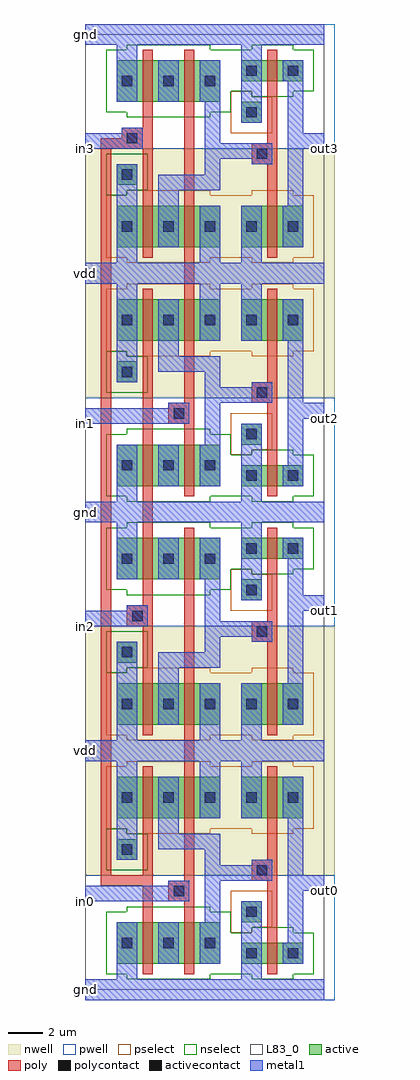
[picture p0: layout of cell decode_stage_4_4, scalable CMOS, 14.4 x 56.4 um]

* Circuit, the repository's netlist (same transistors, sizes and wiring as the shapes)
.SUBCKT decode_stage_4_4 in0 in1 in2 in3 out0 out1 out2 out3 vdd gnd
M00 gnd in3 net01 gnd n w=2.4u l =0.6u
M01 net01 in0 z0 gnd n w=2.4u l =0.6u
M02 gnd z0 out0 gnd n w=1.2u l =0.6u
M03 vdd in3 z0 vdd p w=2.4u l =0.6u
M04 z0 in0 vdd vdd p w=2.4u l =0.6u
M05 vdd z0 out0 vdd p w=2.4u l =0.6u
M10 gnd in2 net11 gnd n w=2.4u l =0.6u
M11 net11 in0 z1 gnd n w=2.4u l =0.6u
M12 gnd z1 out1 gnd n w=1.2u l =0.6u
M13 vdd in2 z1 vdd p w=2.4u l =0.6u
M14 z1 in0 vdd vdd p w=2.4u l =0.6u
M15 vdd z1 out1 vdd p w=2.4u l =0.6u
M20 gnd in2 net21 gnd n w=2.4u l =0.6u
M21 net21 in1 z2 gnd n w=2.4u l =0.6u
M22 gnd z2 out2 gnd n w=1.2u l =0.6u
M23 vdd in1 z2 vdd p w=2.4u l =0.6u
M24 z2 in2 vdd vdd p w=2.4u l =0.6u
M25 vdd z2 out2 vdd p w=2.4u l =0.6u
M30 gnd in3 net31 gnd n w=2.4u l =0.6u
M31 net31 in1 z3 gnd n w=2.4u l =0.6u
M32 gnd z3 out3 gnd n w=1.2u l =0.6u
M33 vdd in3 z3 vdd p w=2.4u l =0.6u
M34 z3 in1 vdd vdd p w=2.4u l =0.6u
M35 vdd z3 out3 vdd p w=2.4u l =0.6u
.ENDS decode_stage_4_4

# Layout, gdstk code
import gdstk
lib = gdstk.Library(unit=1e-6, precision=1e-09)
def R(c, l, rs):  # rectangles x0, y0, x1, y1
    for r in rs: c.add(gdstk.rectangle(r[:2], r[2:], *l))
def A(c, l, x, y, w, h, nx, ny, dx, dy):  # array of equal rectangles
    R(c, l, [(x+i*dx, y+j*dy, x+i*dx+w, y+j*dy+h) for i in range(nx) for j in range(ny)])
pwell = (41, 0)
nwell = (42, 0)
active = (43, 0)
pselect = (44, 0)
nselect = (45, 0)
poly = (46, 0)
polycontact = (47, 0)
activecontact = (48, 0)
metal1 = (49, 0)
L83_0 = (83, 0)

decode_stage_4_4 = lib.new_cell('decode_stage_4_4')
R(decode_stage_4_4, pwell, [(0,-0.6,14.4,6.6), (0,21,14.4,34.2), (0,48.6,14.4,55.8)])
R(decode_stage_4_4, nwell, [(0,6.6,14.4,21), (0,34.2,14.4,48.6)])
R(decode_stage_4_4, active, [(1.8,1.5,7.8,3.9), (9,1.5,12.6,2.7), (9,3.9,10.2,5.1), (1.8,7.5,3,8.7), (1.8,9.9,7.8,12.3), (9,9.9,12.6,12.3), (1.8,15.3,7.8,17.7), (9,15.3,12.6,17.7), (1.8,18.9,3,20.1), (9,22.5,10.2,23.7), (1.8,23.7,7.8,26.1), (9,24.9,12.6,26.1), (1.8,29.1,7.8,31.5), (9,29.1,12.6,30.3), (9,31.5,10.2,32.7), (1.8,35.1,3,36.3), (1.8,37.5,7.8,39.9), (9,37.5,12.6,39.9), (1.8,42.9,7.8,45.3), (9,42.9,12.6,45.3), (1.8,46.5,3,47.7), (9,50.1,10.2,51.3), (1.8,51.3,7.8,53.7), (9,52.5,12.6,53.7)])
R(decode_stage_4_4, pselect, [(8.4,3.3,9.6,3.6), (8.4,3.6,10.8,5.7), (2.4,9,7.2,9.3), (9.6,9,12,9.3), (1.2,9.3,13.2,12.9), (2.4,12.9,7.2,13.2), (9.6,12.9,12,13.2), (2.4,14.4,7.2,14.7), (9.6,14.4,12,14.7), (1.2,14.7,13.2,18.3), (2.4,18.3,7.2,18.6), (9.6,18.3,12,18.6), (8.4,21.9,10.8,24), (8.4,24,9.6,24.3), (8.4,30.9,9.6,31.2), (8.4,31.2,10.8,33.3), (2.4,36.6,7.2,36.9), (9.6,36.6,12,36.9), (1.2,36.9,13.2,40.5), (2.4,40.5,7.2,40.8), (9.6,40.5,12,40.8), (2.4,42,7.2,42.3), (9.6,42,12,42.3), (1.2,42.3,13.2,45.9), (2.4,45.9,7.2,46.2), (9.6,45.9,12,46.2), (8.4,49.5,10.8,51.6), (8.4,51.6,9.6,51.9)])
R(decode_stage_4_4, nselect, [(2.4,0.6,7.2,0.9), (9.6,0.6,12,0.9), (1.2,0.9,13.2,3.3), (1.2,3.3,8.4,4.5), (9.6,3.3,12,3.6), (2.4,4.5,7.2,4.8), (1.2,6.9,3.6,9), (1.2,9,2.4,9.3), (1.2,18.3,2.4,18.6), (1.2,18.6,3.6,20.7), (2.4,22.8,7.2,23.1), (1.2,23.1,8.4,24.3), (9.6,24,12,24.3), (1.2,24.3,13.2,26.7), (2.4,26.7,7.2,27), (9.6,26.7,12,27), (2.4,28.2,7.2,28.5), (9.6,28.2,12,28.5), (1.2,28.5,13.2,30.9), (1.2,30.9,8.4,32.1), (9.6,30.9,12,31.2), (2.4,32.1,7.2,32.4), (1.2,34.5,3.6,36.6), (1.2,36.6,2.4,36.9), (1.2,45.9,2.4,46.2), (1.2,46.2,3.6,48.3), (2.4,50.4,7.2,50.7), (1.2,50.7,8.4,51.9), (9.6,51.6,12,51.9), (1.2,51.9,13.2,54.3), (2.4,54.3,7.2,54.6), (9.6,54.3,12,54.6)])
A(decode_stage_4_4, poly, 9.6, 6.3, 1.5, 1.2, 1, 4, 0, 13.8)
R(decode_stage_4_4, poly, [(3.3,0.9,3.9,6), (5.7,0.9,6.3,5.1), (10.5,0.9,11.1,6.3), (4.8,5.1,6.3,6.3), (0.9,6,3.9,6.6), (5.7,6.3,6.3,26.7), (0.9,6.6,1.5,48.6), (3.3,6.6,3.9,12.9), (10.5,7.5,11.1,12.9), (3.3,14.7,3.9,21), (10.5,14.7,11.1,20.1), (2.4,21,3.9,22.2), (10.5,21.3,11.1,26.7), (3.3,22.2,3.9,40.5), (5.7,28.5,6.3,32.7), (10.5,28.5,11.1,33.9), (4.8,32.7,6.3,33.9), (5.7,33.9,6.3,54.3), (10.5,35.1,11.1,40.5), (3.3,42.3,3.9,48.6), (10.5,42.3,11.1,47.7), (0.9,48.6,3.9,49.2), (10.5,48.9,11.1,54.3), (2.1,49.2,3.9,49.8), (3.3,49.8,3.9,54.3)])
A(decode_stage_4_4, polycontact, 9.9, 6.6, 0.6, 0.6, 1, 4, 0, 13.8)
R(decode_stage_4_4, polycontact, [(5.1,5.4,5.7,6), (2.7,21.3,3.3,21.9), (5.1,33,5.7,33.6), (2.4,48.9,3,49.5)])
A(decode_stage_4_4, activecontact, 2.1, 2.4, 0.6, 0.6, 3, 2, 2.4, 22.2)
A(decode_stage_4_4, activecontact, 2.1, 10.8, 0.6, 0.6, 5, 2, 2.4, 5.4)
A(decode_stage_4_4, activecontact, 2.1, 30, 0.6, 0.6, 3, 2, 2.4, 22.2)
A(decode_stage_4_4, activecontact, 2.1, 38.4, 0.6, 0.6, 5, 2, 2.4, 5.4)
R(decode_stage_4_4, activecontact, [(9.3,1.8,9.9,2.4), (11.7,1.8,12.3,2.4), (9.3,4.2,9.9,4.8), (2.1,7.8,2.7,8.4), (2.1,19.2,2.7,19.8), (9.3,22.8,9.9,23.4), (9.3,25.2,9.9,25.8), (11.7,25.2,12.3,25.8), (9.3,29.4,9.9,30), (11.7,29.4,12.3,30), (9.3,31.8,9.9,32.4), (2.1,35.4,2.7,36), (2.1,46.8,2.7,47.4), (9.3,50.4,9.9,51), (9.3,52.8,9.9,53.4), (11.7,52.8,12.3,53.4)])
A(decode_stage_4_4, metal1, 0, -0.6, 13.8, 1.2, 1, 5, 0, 13.8)
R(decode_stage_4_4, metal1, [(1.8,0.6,3,3.9), (9,0.6,10.2,5.1), (4.2,1.5,5.4,3.9), (6.6,1.5,7.8,3.9), (11.4,1.5,12.6,2.7), (11.7,2.7,12.6,5.7), (6.9,3.9,7.8,6.3), (0,5.1,6,6), (11.7,5.7,13.8,6.6), (4.8,6,6,6.3), (6.9,6.3,10.8,7.2), (11.7,6.6,12.6,9.9), (6.9,7.2,7.8,8.1), (9.6,7.2,10.8,7.5), (1.8,7.5,3,13.2), (4.2,8.1,7.8,9), (4.2,9,5.4,12.3), (6.6,9.9,7.8,13.2), (9,9.9,10.2,13.2), (11.4,9.9,12.6,12.3), (1.8,14.4,3,20.1), (6.6,14.4,7.8,17.7), (9,14.4,10.2,17.7), (4.2,15.3,5.4,18.6), (11.4,15.3,12.6,17.7), (11.7,17.7,12.6,21.9), (4.2,18.6,7.8,19.5), (6.9,19.5,7.8,20.4), (9.6,20.1,10.8,20.4), (6.9,20.4,10.8,21.3), (0,21,3.6,21.9), (6.9,21.3,7.8,23.7), (2.4,21.9,3.6,22.2), (11.7,21.9,13.8,22.8), (9,22.5,10.2,27), (11.7,22.8,12.6,24.9), (1.8,23.7,3,27), (4.2,23.7,5.4,26.1), (6.6,23.7,7.8,26.1), (11.4,24.9,12.6,26.1), (1.8,28.2,3,31.5), (9,28.2,10.2,32.7), (4.2,29.1,5.4,31.5), (6.6,29.1,7.8,31.5), (11.4,29.1,12.6,30.3), (11.7,30.3,12.6,33), (6.9,31.5,7.8,33.9), (0,32.7,6,33.6), (11.7,33,13.8,33.9), (4.8,33.6,6,33.9), (6.9,33.9,10.8,34.8), (11.7,33.9,12.6,37.5), (6.9,34.8,7.8,35.7), (9.6,34.8,10.8,35.1), (1.8,35.1,3,40.8), (4.2,35.7,7.8,36.6), (4.2,36.6,5.4,39.9), (6.6,37.5,7.8,40.8), (9,37.5,10.2,40.8), (11.4,37.5,12.6,39.9), (1.8,42,3,47.7), (6.6,42,7.8,45.3), (9,42,10.2,45.3), (4.2,42.9,5.4,46.2), (11.4,42.9,12.6,45.3), (11.7,45.3,12.6,48.6), (4.2,46.2,7.8,47.1), (6.9,47.1,7.8,48), (9.6,47.7,10.8,48), (6.9,48,10.8,48.9), (0,48.6,3.3,49.5), (11.7,48.6,13.8,49.5), (6.9,48.9,7.8,51.3), (2.1,49.5,3.3,49.8), (11.7,49.5,12.6,52.5), (9,50.1,10.2,54.6), (1.8,51.3,3,54.6), (4.2,51.3,5.4,53.7), (6.6,51.3,7.8,53.7), (11.4,52.5,12.6,53.7)])
R(decode_stage_4_4, L83_0, [(0,0,13.8,55.2)])
decode_stage_4_4.add(gdstk.Label('in0', (0,5.1), layer=49, texttype=0))
decode_stage_4_4.add(gdstk.Label('gnd', (0,0), layer=49, texttype=0))
decode_stage_4_4.add(gdstk.Label('vdd', (0,13.8), layer=49, texttype=0))
decode_stage_4_4.add(gdstk.Label('vdd', (0,41.4), layer=49, texttype=0))
decode_stage_4_4.add(gdstk.Label('gnd', (0,27.6), layer=49, texttype=0))
decode_stage_4_4.add(gdstk.Label('gnd', (0,55.2), layer=49, texttype=0))
decode_stage_4_4.add(gdstk.Label('in3', (0,48.6), layer=49, texttype=0))
decode_stage_4_4.add(gdstk.Label('out0', (13.8,5.7), layer=49, texttype=0))
decode_stage_4_4.add(gdstk.Label('out1', (13.8,21.9), layer=49, texttype=0))
decode_stage_4_4.add(gdstk.Label('out2', (13.8,33), layer=49, texttype=0))
decode_stage_4_4.add(gdstk.Label('out3', (13.8,48.6), layer=49, texttype=0))
decode_stage_4_4.add(gdstk.Label('in1', (0,32.7), layer=49, texttype=0))
decode_stage_4_4.add(gdstk.Label('in2', (0,21), layer=49, texttype=0))

lib.write_gds('decode_stage_4_4.gds')
